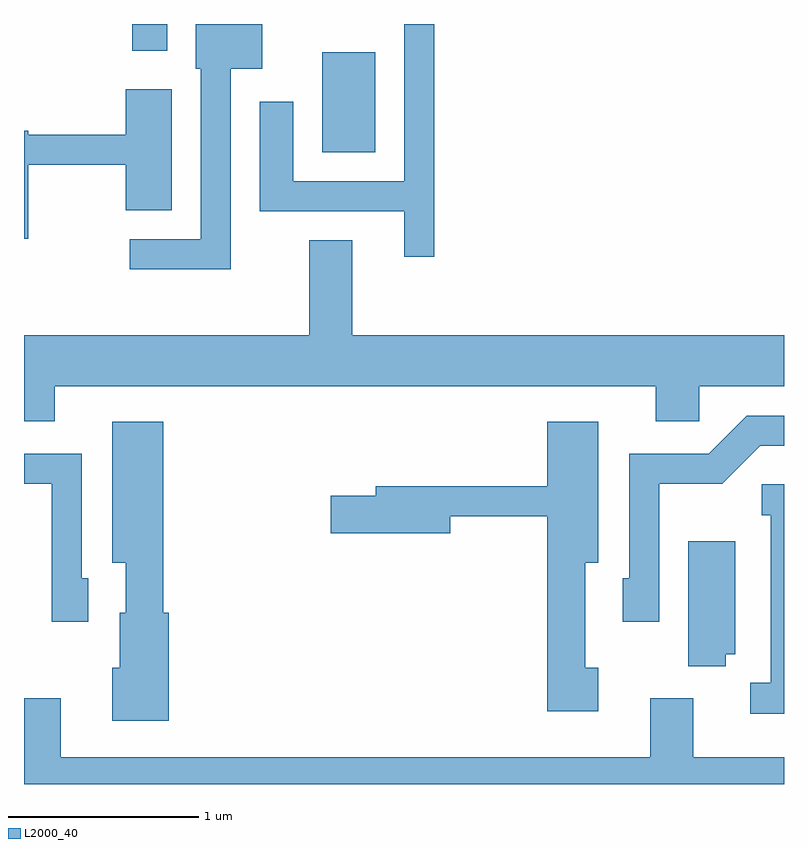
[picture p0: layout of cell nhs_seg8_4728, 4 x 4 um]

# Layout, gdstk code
import gdstk
lib = gdstk.Library(unit=1e-6, precision=1e-09)
def R(c, l, rs):  # rectangles x0, y0, x1, y1
    for r in rs: c.add(gdstk.rectangle(r[:2], r[2:], *l))
def P(c, l, *ps):  # polygons
    for p in ps: c.add(gdstk.Polygon(p, *l))
L2000_40 = (2000, 40)

nhs_seg8_4728 = lib.new_cell('nhs_seg8_4728')
R(nhs_seg8_4728, L2000_40, [(329.181,1817.666,329.459,1818.194), (328.181,1818.201,328.364,1818.342)])
P(nhs_seg8_4728, L2000_40, [(329.769,1818.342),(329.611,1818.342),(329.611,1817.514),(329.029,1817.514),(329.029,1817.934),(328.851,1817.934),(328.851,1817.356),(329.611,1817.356),(329.611,1817.118),(329.769,1817.118)],
  [(328.699,1818.106),(328.864,1818.106),(328.864,1818.342),(328.516,1818.342),(328.516,1818.106),(328.541,1818.106),(328.541,1817.209),(328.168,1817.209),(328.168,1817.051),(328.699,1817.051)],
  [(327.634,1817.601),(328.146,1817.601),(328.146,1817.361),(328.389,1817.361),(328.389,1817.999),(328.146,1817.999),(328.146,1817.759),(327.634,1817.759),(327.634,1817.779),(327.611,1817.779),(327.611,1817.211),(327.634,1817.211)],
  [(330.936,1816.251),(331.164,1816.251),(331.164,1816.436),(331.611,1816.436),(331.611,1816.704),(329.339,1816.704),(329.339,1817.204),(329.111,1817.204),(329.111,1816.704),(327.611,1816.704),(327.611,1816.251),(327.774,1816.251),(327.774,1816.436),(330.936,1816.436)],
  [(330.954,1815.921),(331.287,1815.921),(331.487,1816.121),(331.611,1816.121),(331.611,1816.279),(331.414,1816.279),(331.214,1816.079),(330.796,1816.079),(330.796,1815.424),(330.761,1815.424),(330.761,1815.196),(330.954,1815.196)],
  [(328.374,1815.244),(328.344,1815.244),(328.344,1816.249),(328.076,1816.249),(328.076,1815.506),(328.146,1815.506),(328.146,1815.244),(328.116,1815.244),(328.116,1814.954),(328.076,1814.954),(328.076,1814.676),(328.374,1814.676)],
  [(330.634,1814.954),(330.564,1814.954),(330.564,1815.506),(330.634,1815.506),(330.634,1816.249),(330.366,1816.249),(330.366,1815.909),(329.461,1815.909),(329.461,1815.859),(329.226,1815.859),(329.226,1815.661),(329.854,1815.661),(329.854,1815.751),(330.366,1815.751),(330.366,1814.726),(330.634,1814.726)],
  [(327.949,1815.424),(327.914,1815.424),(327.914,1816.079),(327.611,1816.079),(327.611,1815.921),(327.756,1815.921),(327.756,1815.196),(327.949,1815.196)],
  [(331.611,1815.919),(331.493,1815.919),(331.493,1815.756),(331.541,1815.756),(331.541,1814.874),(331.433,1814.874),(331.433,1814.711),(331.611,1814.711)],
  [(331.304,1815.026),(331.354,1815.026),(331.354,1815.619),(331.106,1815.619),(331.106,1814.961),(331.304,1814.961)],
  [(331.611,1814.484),(331.134,1814.484),(331.134,1814.794),(330.906,1814.794),(330.906,1814.484),(327.804,1814.484),(327.804,1814.794),(327.611,1814.794),(327.611,1814.342),(331.611,1814.342)])

lib.write_gds('nhs_seg8_4728.gds')
